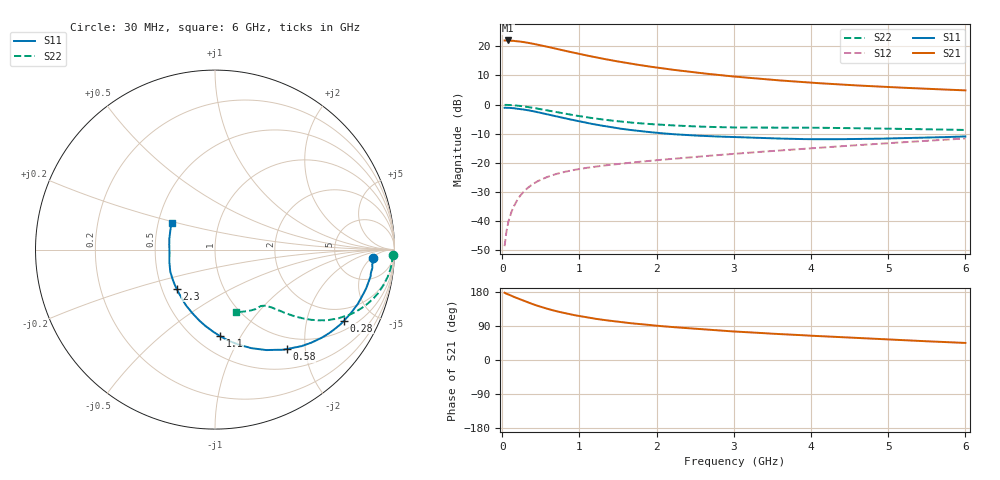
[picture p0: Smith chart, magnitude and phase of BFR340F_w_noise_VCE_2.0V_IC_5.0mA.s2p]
! Infineon Technologies  Discrete & RF Semiconductors
! BFR340F
! VCE =  2.0 V,  IC =  5.0 mA
! Common Emitter S-Parameters:  Nov 2015
# GHz  S  MA  R  50
!  f  S11  S21  S12  S22
! GHz  MAG  ANG  MAG  ANG  MAG  ANG  MAG  ANG
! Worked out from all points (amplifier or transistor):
!   206 points, 30 MHz to 6 GHz, reference 50 ohm
!   highest |S21| = 22.0 dB at 70 MHz (marker M1)
!   |S21| within 3 dB of that: start of sweep to 722.1 MHz
!   unconditionally stable (mu >= 1): 2.968 GHz to end of sweep
!   at 200 MHz: K = 0.12, MSG = 27.1 dB, |S12| = -32.5 dB
!   at 1.56 GHz: K = 0.76, MSG = 17.4 dB, |S12| = -20.2 dB
!   at 6 GHz: K = 1.00, MAG = 8.0 dB, |S12| = -11.6 dB
!   lowest NFmin = 1.09 dB at 450 MHz
!   S11 on the Smith chart (normalised r, x): 30 MHz: 13, -6; 280 MHz: 1.39, -3.36; 580 MHz: 0.80, -1.66; 1.1 GHz: 0.65, -0.82; 2.3 GHz: 0.60, -0.29; 6 GHz: 0.59, +0.19
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0.03  0.8824 -3.2  12.64 177.5  0.0037 86.5  0.9902 -1.7
0.07  0.8803 -7.6  12.65 173.4  0.0084 86.0  0.9881 -4.2
0.08  0.8783 -8.6  12.59 173.0  0.0099 85.8  0.9869 -4.9
0.14  0.8683 -14.8  12.48 167.6  0.0169 81.9  0.9759 -8.5
0.22  0.8429 -22.9  12.14 160.8  0.0259 77.7  0.9523 -13.0
0.28  0.821 -28.8  11.83 156.0  0.0322 74.9  0.9307 -16.2
0.36  0.7881 -36.2  11.36 149.9  0.0399 71.3  0.8972 -20.0
0.42  0.7602 -41.4  10.95 145.6  0.0451 68.9  0.8701 -22.6
0.5  0.7225 -48.1  10.42 140.3  0.0515 66.2  0.833 -25.8
0.58  0.6831 -54.2  9.875 135.4  0.0569 63.7  0.7961 -28.4
0.7  0.6289 -62.9  9.094 128.7  0.0644 60.9  0.7433 -31.9
0.8  0.5874 -69.4  8.479 123.9  0.0696 59.2  0.7031 -34.1
1.04  0.5019 -83.3  7.229 114.5  0.0799 56.4  0.6218 -38.0
1.1  0.4843 -86.4  6.952 112.3  0.0822 55.9  0.6044 -38.8
1.3  0.4329 -96.3  6.156 106.1  0.0892 55.0  0.5555 -40.9
1.52  0.3884 -106.2  5.447 100.4  0.0962 54.7  0.5141 -42.6
2.02  0.3262 -125.2  4.295 90.1  0.1115 55.4  0.4543 -45.4
2.3  0.3051 -134.5  3.84 85.5  0.12 56.1  0.4338 -46.9
3.1  0.2739 -156.1  2.959 74.2  0.146 58.0  0.4043 -51.5
4.1  0.2541 -176.4  2.334 63.2  0.1817 59.7  0.4002 -56.2
5.1  0.2631 164.3  1.976 53.3  0.2216 60.0  0.3843 -63.5
6  0.2839 148.2  1.756 45.0  0.2622 59.3  0.3668 -71.5
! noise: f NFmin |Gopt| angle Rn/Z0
0.45  1.09  0.48  3  0.33
0.9  1.1  0.48  12  0.36
1.9  1.33  0.35  18  0.33
2.4  1.45  0.32  29  0.31
